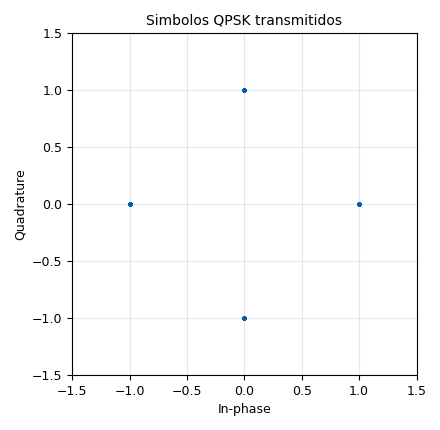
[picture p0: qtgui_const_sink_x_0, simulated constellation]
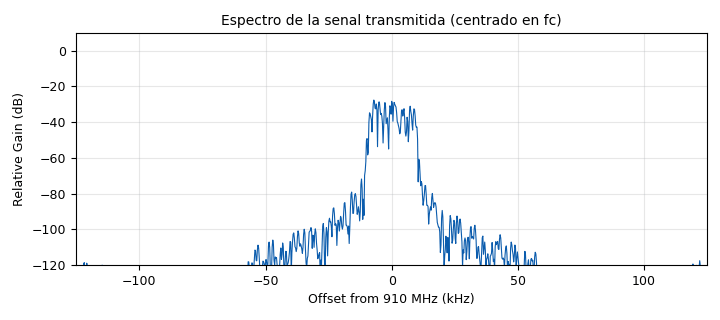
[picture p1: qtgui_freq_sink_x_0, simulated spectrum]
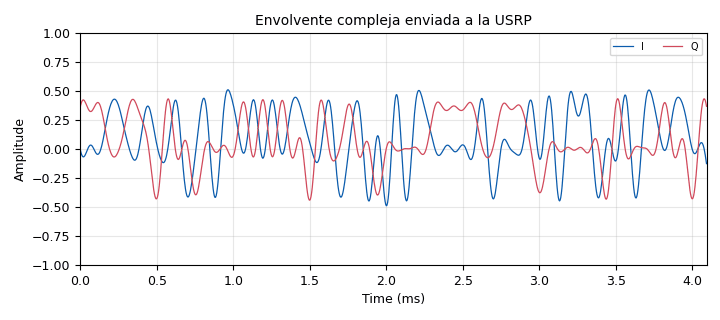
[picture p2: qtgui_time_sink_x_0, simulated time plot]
options:
  parameters:
    author: Grupo A1-GG
    description: Solo transmision. Vector Source con mensaje conocido, QPSK (1, j, -1, -j), RRC de energia unitaria, adaptacion de tasa a 250 kS/s y osmocom Sink (UHD) a 910 MHz. Sin canal simulado ni receptor.
    generate_options: qt_gui
    id: QPSK_DCI_Fase3_Tx_USRP2920
    output_language: python
    title: Fase 3 - Transmisor QPSK (DCI) con USRP-2920 a 910 MHz
  states: {}

blocks:
- name: M
  id: variable
  parameters:
    value: len(tabla_de_verdad_constelacion)
  states: {}
- name: Rb
  id: variable
  parameters:
    value: Rs*bps
  states: {}
- name: Rs
  id: variable
  parameters:
    value: '16000'
  states: {}
- name: Sps
  id: variable
  parameters:
    value: '8'
  states: {}
- name: bps
  id: variable
  parameters:
    value: int(math.log(M,2))
  states: {}
- name: samp_rate
  id: variable
  parameters:
    value: Rs*Sps
  states: {}
- name: span
  id: variable
  parameters:
    value: '11'
  states: {}
- name: tabla_de_verdad_constelacion
  id: variable
  parameters:
    value: (1+0j, 0+1j, -1+0j, 0-1j)
  states: {}
- name: import_0
  id: import
  parameters:
    imports: import math
  states: {}
- name: ntaps
  id: variable
  parameters:
    value: span*Sps+1
  states: {}
- name: rrc_raw
  id: variable
  parameters:
    value: firdes.root_raised_cosine(1.0, samp_rate, Rs, beta, ntaps)
  states: {}
- name: rrc_taps
  id: variable
  parameters:
    value: '[t/math.sqrt(sum([x*x for x in rrc_raw])) for t in rrc_raw]'
  states: {}
- name: mensaje
  id: variable
  parameters:
    value: '"UIS - Comunicaciones II - Grupo A1-GG - Enlace QPSK DCI. "'
    comment: Mensaje conocido (solo ASCII)
  states: {}
- name: fuente_mensaje
  id: blocks_vector_source_x
  parameters:
    type: byte
    vector: list(mensaje.encode("ascii"))
    repeat: 'True'
    comment: 'Vector Source: mensaje conocido'
  states: {}
- name: bits_to_symbols
  id: blocks_repack_bits_bb
  parameters:
    comment: 8 bits por byte -> simbolos de bps bits (MSB primero)
    endianness: gr.GR_MSB_FIRST
    k: '8'
    l: bps
  states: {}
- name: digital_chunks_to_symbols_xx_0
  id: digital_chunks_to_symbols_xx
  parameters:
    dimension: '1'
    in_type: byte
    out_type: complex
    symbol_table: tabla_de_verdad_constelacion
  states: {}
- name: rrc_tx
  id: interp_fir_filter_xxx
  parameters:
    interp: Sps
    taps: rrc_taps
    type: ccf
  states: {}
- name: qtgui_const_sink_x_0
  id: qtgui_const_sink_x
  parameters:
    grid: 'True'
    gui_hint: 3,2,1,1
    label1: '"Simbolos"'
    legend: 'False'
    name: '"Simbolos QPSK transmitidos"'
    size: '2048'
    type: complex
    xmax: '1.5'
    xmin: '-1.5'
    ymax: '1.5'
    ymin: '-1.5'
  states: {}
- name: qtgui_freq_sink_x_0
  id: qtgui_freq_sink_x
  parameters:
    bw: samp_rate_usrp
    fc: fc
    fftsize: '1024'
    grid: 'True'
    gui_hint: 2,0,1,3
    label1: '"Senal enviada a la USRP"'
    legend: 'False'
    name: '"Espectro de la senal transmitida (centrado en fc)"'
    type: complex
    ymin: '-120'
  states: {}
- name: qtgui_time_sink_x_0
  id: qtgui_time_sink_x
  parameters:
    grid: 'True'
    gui_hint: 3,0,1,2
    label1: I
    label2: Q
    name: '"Envolvente compleja enviada a la USRP"'
    size: '1024'
    srate: samp_rate_usrp
    type: complex
  states: {}
- name: lbl_mensaje_tx
  id: variable_qtgui_label
  parameters:
    label: '"Mensaje transmitido"'
    type: string
    value: mensaje
    gui_hint: 0,0,1,3
  states: {}
- name: beta
  id: variable
  parameters:
    value: '0.35'
  states: {}
- name: samp_rate_usrp
  id: variable
  parameters:
    value: 250e3
    comment: '100 MHz / 400: tasa entera admitida por la USRP-2920'
  states: {}
- name: interp_usrp
  id: variable
  parameters:
    value: int(samp_rate_usrp/math.gcd(int(samp_rate_usrp),int(samp_rate)))
  states: {}
- name: decim_usrp
  id: variable
  parameters:
    value: int(samp_rate/math.gcd(int(samp_rate_usrp),int(samp_rate)))
  states: {}
- name: adaptacion_tasa
  id: rational_resampler_xxx
  parameters:
    type: ccc
    interp: interp_usrp
    decim: decim_usrp
    fbw: '0.4'
    comment: 128 kS/s -> 250 kS/s (125/64). Rs = 16 kBd no cambia
  states: {}
- name: fc
  id: variable
  parameters:
    value: 910e6
    comment: Banda ISM 902-928 MHz
  states: {}
- name: usrp_args
  id: variable
  parameters:
    value: '"uhd,addr=192.168.10.2"'
    comment: IP de fabrica de la USRP-2920; cambiar si el laboratorio usa otra
  states: {}
- name: ganancia_tx
  id: variable_qtgui_range
  parameters:
    label: '"Ganancia Tx [dB]"'
    value: '10'
    start: '0'
    stop: '31'
    step: '0.5'
    gui_hint: 1,0,1,1
  states: {}
- name: amp_tx
  id: variable_qtgui_range
  parameters:
    label: '"Amplitud digital"'
    value: '1.0'
    start: '0'
    stop: '1.8'
    step: '0.05'
    gui_hint: 1,1,1,1
  states: {}
- name: lbl_fc
  id: variable_qtgui_label
  parameters:
    label: '"Portadora [MHz]"'
    type: real
    value: fc/1e6
    gui_hint: 1,2,1,1
  states: {}
- name: escala_tx
  id: blocks_multiply_const_vxx
  parameters:
    type: complex
    const: amp_tx
    comment: 'Pico RRC = 0.54: con amp_tx <= 1.8 no satura el DAC'
  states: {}
- name: usrp_2920_tx
  id: osmosdr_sink
  parameters:
    type: fc32
    args: usrp_args
    sync: ''
    sample_rate: samp_rate_usrp
    freq0: fc
    gain0: ganancia_tx
    if_gain0: '20'
    bb_gain0: '20'
    ant0: '"TX/RX"'
    comment: USRP-2920 via UHD. Antena TX/RX. La ganancia RF va de 0 a 31 dB
  states: {}

connections:
- [fuente_mensaje, '0', bits_to_symbols, '0']
- [bits_to_symbols, '0', digital_chunks_to_symbols_xx_0, '0']
- [digital_chunks_to_symbols_xx_0, '0', rrc_tx, '0']
- [digital_chunks_to_symbols_xx_0, '0', qtgui_const_sink_x_0, '0']
- [rrc_tx, '0', adaptacion_tasa, '0']
- [adaptacion_tasa, '0', escala_tx, '0']
- [escala_tx, '0', usrp_2920_tx, '0']
- [escala_tx, '0', qtgui_freq_sink_x_0, '0']
- [escala_tx, '0', qtgui_time_sink_x_0, '0']

metadata:
  file_format: 1
  grc_version: 3.10.12.0
